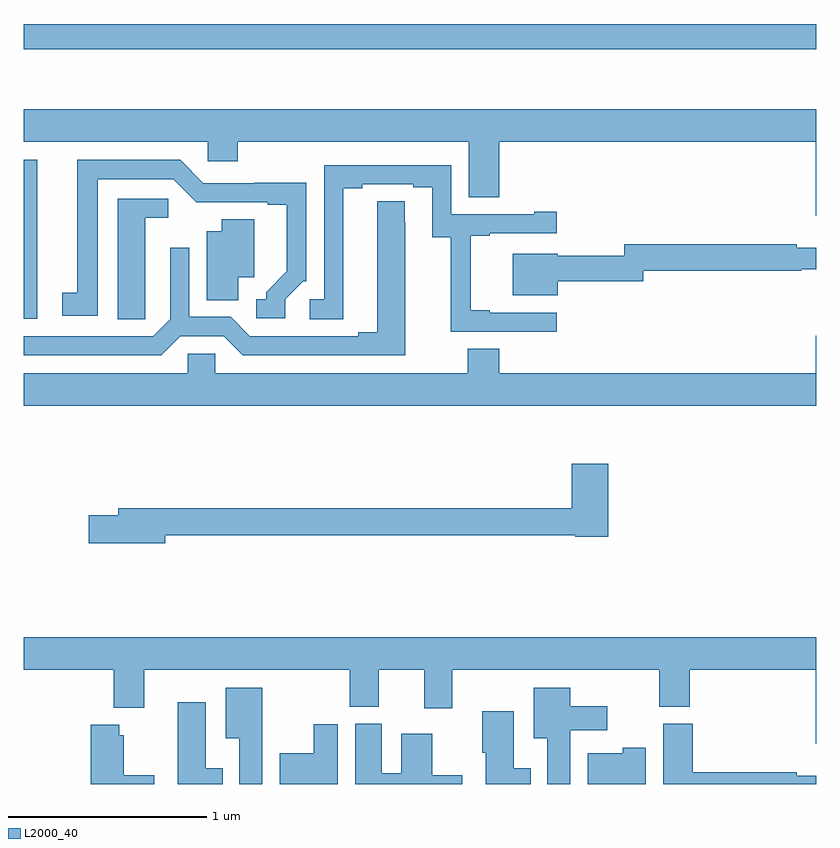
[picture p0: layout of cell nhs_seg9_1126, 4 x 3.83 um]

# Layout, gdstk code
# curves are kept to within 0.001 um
import gdstk
lib = gdstk.Library(unit=1e-6, precision=1e-09)
def R(c, l, rs):  # rectangles x0, y0, x1, y1
    for r in rs: c.add(gdstk.rectangle(r[:2], r[2:], *l))
def P(c, l, *ps):  # polygons
    for p in ps: c.add(gdstk.Polygon(p, *l))
L2000_40 = (2000, 40)

nhs_seg9_1126 = lib.new_cell('nhs_seg9_1126')
R(nhs_seg9_1126, L2000_40, [(173,1208.847,173.068,1209.648), (173,1210.206,177,1210.334)])
P(nhs_seg9_1126, L2000_40, [(177,1209.904),(173,1209.904),(173,1209.74),(173.928,1209.74),(173.928,1209.642),(174.08,1209.642),(174.08,1209.74),(175.247,1209.74),(175.247,1209.46),(175.4,1209.46),(175.4,1209.74),(176.996,1209.74),(176.996,1209.366),(177,1209.366)],
  [(174.321,1208.946),(174.411,1209.036),(174.426,1209.036),(174.426,1209.533),(174.163,1209.533),(174.163,1209.531),(173.907,1209.531),(173.79,1209.648),(173.27,1209.648),(173.27,1208.978),(173.196,1208.978),(173.196,1208.862),(173.374,1208.862),(173.374,1209.552),(173.754,1209.552),(173.872,1209.434),(174.233,1209.435),(174.233,1209.423),(174.329,1209.423),(174.329,1209.086),(174.224,1208.981),(174.224,1208.946),(174.174,1208.946),(174.174,1208.85),(174.321,1208.85)],
  [(175.69,1208.877),(175.351,1208.877),(175.351,1208.89),(175.256,1208.89),(175.256,1209.267),(175.351,1209.267),(175.351,1209.279),(175.69,1209.279),(175.69,1209.388),(175.577,1209.388),(175.577,1209.375),(175.158,1209.375),(175.158,1209.621),(174.516,1209.621),(174.516,1208.946),(174.444,1208.946),(174.444,1208.845),(174.613,1208.845),(174.613,1209.505),(174.709,1209.505),(174.709,1209.525),(174.965,1209.525),(174.965,1209.51),(175.061,1209.51),(175.061,1209.259),(175.156,1209.259),(175.156,1208.781),(175.69,1208.781)],
  [(173.613,1208.953),(173.614,1208.953),(173.614,1209.356),(173.731,1209.356),(173.731,1209.453),(173.474,1209.453),(173.474,1208.845),(173.613,1208.845)],
  [(173.791,1208.76),(174.009,1208.76),(174.105,1208.664),(174.925,1208.664),(174.924,1209.44),(174.785,1209.44),(174.785,1208.78),(174.689,1208.78),(174.689,1208.76),(174.141,1208.76),(174.045,1208.856),(173.835,1208.856),(173.835,1209.205),(173.739,1209.205),(173.739,1208.844),(173.655,1208.76),(173,1208.76),(173,1208.664),(173.695,1208.664)],
  [(174.082,1209.056),(174.163,1209.056),(174.163,1209.35),(173.999,1209.35),(173.999,1209.289),(173.924,1209.289),(173.924,1208.941),(174.082,1208.941)],
  [(175.696,1209.036),(176.127,1209.036),(176.127,1209.088),(176.924,1209.088),(176.924,1209.096),(177,1209.096),(177,1209.205),(176.9,1209.205),(176.9,1209.224),(176.031,1209.224),(176.031,1209.164),(175.696,1209.164),(175.696,1209.175),(175.469,1209.175),(175.469,1208.966),(175.696,1208.966)],
  [(177,1208.761),(176.996,1208.761),(176.996,1208.572),(175.4,1208.572),(175.4,1208.696),(175.24,1208.696),(175.24,1208.572),(173.967,1208.572),(173.967,1208.67),(173.829,1208.67),(173.829,1208.572),(173,1208.572),(173,1208.408),(177,1208.408)],
  [(173.716,1207.756),(175.782,1207.756),(175.782,1207.748),(175.949,1207.748),(175.949,1208.116),(175.766,1208.116),(175.766,1207.892),(173.477,1207.892),(173.477,1207.856),(173.328,1207.856),(173.328,1207.714),(173.716,1207.714)],
  [(177,1207.24),(173,1207.24),(173,1207.076),(173.456,1207.076),(173.456,1206.884),(173.608,1206.884),(173.608,1207.076),(174.646,1207.076),(174.646,1206.889),(174.793,1206.889),(174.793,1207.076),(175.022,1207.076),(175.022,1206.882),(175.162,1206.882),(175.162,1207.076),(176.207,1207.076),(176.207,1206.889),(176.36,1206.889),(176.36,1207.076),(176.996,1207.076),(176.996,1206.702),(177,1206.702)],
  [(175.759,1206.77),(175.945,1206.77),(175.945,1206.892),(175.759,1206.892),(175.759,1206.985),(175.574,1206.985),(175.574,1206.731),(175.643,1206.731),(175.643,1206.5),(175.759,1206.5)],
  [(174.205,1206.985),(174.02,1206.985),(174.02,1206.731),(174.089,1206.731),(174.089,1206.5),(174.205,1206.5)],
  [(174.004,1206.58),(173.92,1206.58),(173.92,1206.913),(173.777,1206.913),(173.777,1206.5),(174.004,1206.5)],
  [(175.558,1206.58),(175.474,1206.58),(175.474,1206.868),(175.313,1206.868),(175.313,1206.657),(175.331,1206.657),(175.331,1206.5),(175.558,1206.5)],
  [(177,1206.541),(176.9,1206.541),(176.9,1206.56),(176.375,1206.56),(176.375,1206.804),(176.228,1206.804),(176.228,1206.5),(177,1206.5)],
  [(175.213,1206.543),(175.063,1206.543),(175.063,1206.754),(174.905,1206.754),(174.905,1206.553),(174.808,1206.553),(174.808,1206.804),(174.674,1206.804),(174.674,1206.5),(175.213,1206.5)],
  [(174.586,1206.802),(174.464,1206.802),(174.464,1206.655),(174.293,1206.655),(174.293,1206.5),(174.586,1206.5)],
  [(173.659,1206.543),(173.506,1206.543),(173.506,1206.745),(173.484,1206.745),(173.484,1206.799),(173.339,1206.799),(173.339,1206.5),(173.659,1206.5)],
  [(176.14,1206.682),(176.022,1206.682),(176.022,1206.655),(175.847,1206.655),(175.847,1206.5),(176.14,1206.5)])

lib.write_gds('nhs_seg9_1126.gds')
